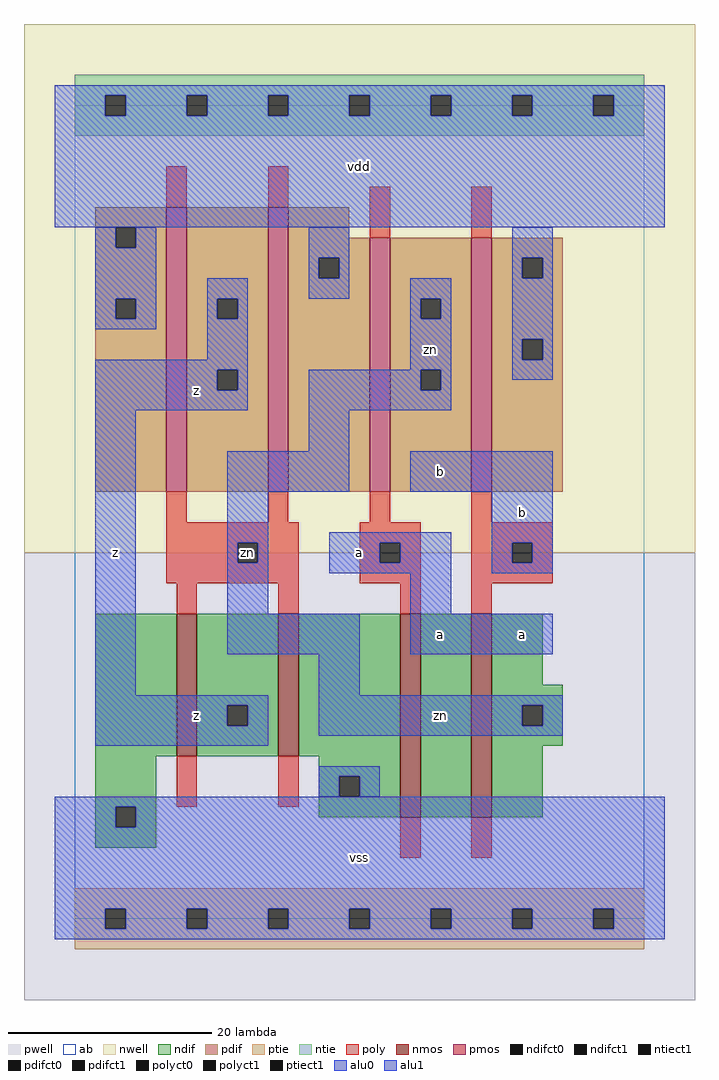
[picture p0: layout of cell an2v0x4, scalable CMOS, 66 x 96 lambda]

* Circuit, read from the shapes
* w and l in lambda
.subckt an2v0x4 a b vdd vss z zn
M1 z zn vss vss nfet w=14 l=2 m=2
M2 n1 a vss vss nfet w=20 l=2
M3 zn b n1 vss nfet w=20 l=2
M4 z zn vdd vdd pfet w=28 l=2 m=2
M5 zn a vdd vdd pfet w=25 l=2
M6 vdd b zn vdd pfet w=25 l=2
.ends

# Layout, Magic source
magic
tech scmos
<< ab >>
rect 0 0 56 80
<< nwell >>
rect -5 36 61 88
<< pwell >>
rect -5 -8 61 36
<< poly >>
rect 9 70 11 74
rect 19 70 21 74
rect 29 67 31 72
rect 39 67 41 72
rect 9 39 11 42
rect 19 39 21 42
rect 29 39 31 42
rect 39 39 41 42
rect 9 37 22 39
rect 9 35 16 37
rect 18 35 22 37
rect 9 33 22 35
rect 28 37 34 39
rect 28 35 30 37
rect 32 35 34 37
rect 28 33 34 35
rect 10 30 12 33
rect 20 30 22 33
rect 32 30 34 33
rect 39 37 47 39
rect 39 35 43 37
rect 45 35 47 37
rect 39 33 47 35
rect 39 30 41 33
rect 10 11 12 16
rect 20 11 22 16
rect 32 6 34 10
rect 39 6 41 10
<< ndif >>
rect 2 16 10 30
rect 12 21 20 30
rect 12 19 15 21
rect 17 19 20 21
rect 12 16 20 19
rect 22 16 32 30
rect 2 11 8 16
rect 24 14 32 16
rect 24 12 26 14
rect 28 12 32 14
rect 2 9 4 11
rect 6 9 8 11
rect 24 10 32 12
rect 34 10 39 30
rect 41 23 46 30
rect 41 21 48 23
rect 41 19 44 21
rect 46 19 48 21
rect 41 17 48 19
rect 41 10 46 17
rect 2 7 8 9
<< pdif >>
rect 2 68 9 70
rect 2 66 4 68
rect 6 66 9 68
rect 2 61 9 66
rect 2 59 4 61
rect 6 59 9 61
rect 2 42 9 59
rect 11 61 19 70
rect 11 59 14 61
rect 16 59 19 61
rect 11 54 19 59
rect 11 52 14 54
rect 16 52 19 54
rect 11 42 19 52
rect 21 67 27 70
rect 21 65 29 67
rect 21 63 24 65
rect 26 63 29 65
rect 21 42 29 63
rect 31 61 39 67
rect 31 59 34 61
rect 36 59 39 61
rect 31 54 39 59
rect 31 52 34 54
rect 36 52 39 54
rect 31 42 39 52
rect 41 65 48 67
rect 41 63 44 65
rect 46 63 48 65
rect 41 57 48 63
rect 41 55 44 57
rect 46 55 48 57
rect 41 42 48 55
<< alu1 >>
rect -2 81 58 82
rect -2 79 3 81
rect 5 79 11 81
rect 13 79 19 81
rect 21 79 27 81
rect 29 79 35 81
rect 37 79 43 81
rect 45 79 51 81
rect 53 79 58 81
rect -2 68 58 79
rect 13 61 17 63
rect 13 59 14 61
rect 16 59 17 61
rect 13 55 17 59
rect 2 54 17 55
rect 2 52 14 54
rect 16 52 17 54
rect 2 50 17 52
rect 2 22 6 50
rect 33 42 47 46
rect 25 37 37 38
rect 25 35 30 37
rect 32 35 37 37
rect 25 34 37 35
rect 41 37 47 42
rect 41 35 43 37
rect 45 35 47 37
rect 41 34 47 35
rect 33 30 37 34
rect 33 26 47 30
rect 2 21 19 22
rect 2 19 15 21
rect 17 19 19 21
rect 2 17 19 19
rect -2 11 58 12
rect -2 9 4 11
rect 6 9 58 11
rect -2 1 58 9
rect -2 -1 3 1
rect 5 -1 11 1
rect 13 -1 19 1
rect 21 -1 27 1
rect 29 -1 35 1
rect 37 -1 43 1
rect 45 -1 51 1
rect 53 -1 58 1
rect -2 -2 58 -1
<< ptie >>
rect 0 1 56 3
rect 0 -1 3 1
rect 5 -1 11 1
rect 13 -1 19 1
rect 21 -1 27 1
rect 29 -1 35 1
rect 37 -1 43 1
rect 45 -1 51 1
rect 53 -1 56 1
rect 0 -3 56 -1
<< ntie >>
rect 0 81 56 83
rect 0 79 3 81
rect 5 79 11 81
rect 13 79 19 81
rect 21 79 27 81
rect 29 79 35 81
rect 37 79 43 81
rect 45 79 51 81
rect 53 79 56 81
rect 0 77 56 79
<< nmos >>
rect 10 16 12 30
rect 20 16 22 30
rect 32 10 34 30
rect 39 10 41 30
<< pmos >>
rect 9 42 11 70
rect 19 42 21 70
rect 29 42 31 67
rect 39 42 41 67
<< polyct0 >>
rect 16 35 18 37
<< polyct1 >>
rect 30 35 32 37
rect 43 35 45 37
<< ndifct0 >>
rect 26 12 28 14
rect 44 19 46 21
<< ndifct1 >>
rect 15 19 17 21
rect 4 9 6 11
<< ntiect1 >>
rect 3 79 5 81
rect 11 79 13 81
rect 19 79 21 81
rect 27 79 29 81
rect 35 79 37 81
rect 43 79 45 81
rect 51 79 53 81
<< ptiect1 >>
rect 3 -1 5 1
rect 11 -1 13 1
rect 19 -1 21 1
rect 27 -1 29 1
rect 35 -1 37 1
rect 43 -1 45 1
rect 51 -1 53 1
<< pdifct0 >>
rect 4 66 6 68
rect 4 59 6 61
rect 24 63 26 65
rect 34 59 36 61
rect 34 52 36 54
rect 44 63 46 65
rect 44 55 46 57
<< pdifct1 >>
rect 14 59 16 61
rect 14 52 16 54
<< alu0 >>
rect 2 66 4 68
rect 6 66 8 68
rect 2 61 8 66
rect 23 65 27 68
rect 23 63 24 65
rect 26 63 27 65
rect 43 65 47 68
rect 43 63 44 65
rect 46 63 47 65
rect 2 59 4 61
rect 6 59 8 61
rect 2 58 8 59
rect 23 61 27 63
rect 33 61 37 63
rect 33 59 34 61
rect 36 59 37 61
rect 33 54 37 59
rect 23 52 34 54
rect 36 52 37 54
rect 43 57 47 63
rect 43 55 44 57
rect 46 55 47 57
rect 43 53 47 55
rect 23 50 37 52
rect 23 46 27 50
rect 15 42 27 46
rect 15 37 19 42
rect 15 35 16 37
rect 18 35 19 37
rect 15 30 19 35
rect 15 26 28 30
rect 24 22 28 26
rect 24 21 48 22
rect 24 19 44 21
rect 46 19 48 21
rect 24 18 48 19
rect 24 14 30 15
rect 24 12 26 14
rect 28 12 30 14
<< labels >>
rlabel polyct0 17 36 17 36 6 zn
rlabel alu0 35 56 35 56 6 zn
rlabel alu0 36 20 36 20 6 zn
rlabel alu1 4 36 4 36 6 z
rlabel alu1 12 20 12 20 6 z
rlabel alu1 12 52 12 52 6 z
rlabel alu1 28 6 28 6 6 vss
rlabel alu1 28 36 28 36 6 a
rlabel alu1 36 28 36 28 6 a
rlabel alu1 36 44 36 44 6 b
rlabel alu1 28 74 28 74 6 vdd
rlabel alu1 44 28 44 28 6 a
rlabel alu1 44 40 44 40 6 b
<< end >>
